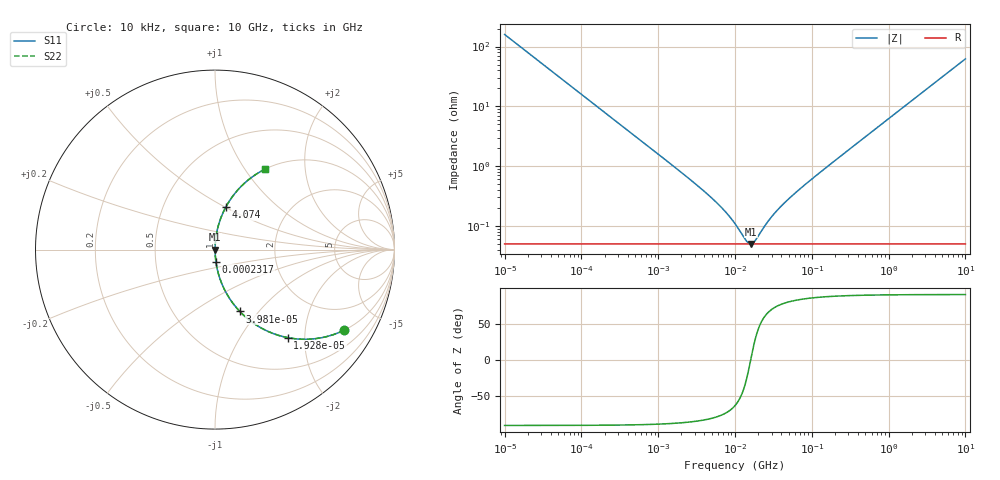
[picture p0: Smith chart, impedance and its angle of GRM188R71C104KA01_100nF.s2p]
! Touchstone 2-port S-parameters  (series-through model)
! Part: GRM188R71C104KA01_100nF
! Generated: 2026-08-04 18:16 UTC  by s2p tool
! Reference impedance: 50.0 Ohm
! ESL estimated from SRF: 0.989 nH (SRF=16.0 MHz) [PHYSICS ESTIMATE]
! ESTIMATED / behavioral model - NOT manufacturer-measured data.
# Hz S RI R 50
! freq  ReS11  ImS11  ReS21  ImS21  ReS12  ImS12  ReS22  ImS22
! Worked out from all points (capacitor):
!   521 points, 10 kHz to 10 GHz, reference 50 ohm
!   read as one part in series: C = 100 nF near 10.72 kHz
!   lowest |Z| = 50.1 mohm at 16.22 MHz (marker M1)
!   series resonance near 16 MHz, so ESL is about 990 pH
!   S11 on the Smith chart (normalised r, x): 10 kHz: 1.00, -3.18; 19.28 kHz: 1.00, -1.65; 39.81 kHz: 1.00, -0.80; 231.7 kHz: 1.00, -0.14; 4.074 GHz: 1.00, +0.51; 10 GHz: 1.00, +1.24
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10000  0.7169 -0.4503  0.2831 0.4503  0.2831 0.4503  0.7169 -0.4503
14125.38  0.5594 -0.4962  0.4406 0.4962  0.4406 0.4962  0.5594 -0.4962
19275.25  0.4054 -0.4907  0.5946 0.4907  0.5946 0.4907  0.4054 -0.4907
28183.83  0.242 -0.4278  0.758 0.4278  0.758 0.4278  0.242 -0.4278
39810.72  0.1381 -0.3444  0.8619 0.3444  0.8619 0.3444  0.1381 -0.3444
101157.9  0.0246 -0.1534  0.9754 0.1534  0.9754 0.1534  0.0246 -0.1534
231739.5  0.00519 -0.0683  0.9948 0.0683  0.9948 0.0683  0.00519 -0.0683
1023293  0.000739 -0.0155  0.9993 0.0155  0.9993 0.0155  0.000739 -0.0155
4365158  0.000511 -0.00337  0.9995 0.00337  0.9995 0.00337  0.000511 -0.00337
7819799  0.000502 -0.00155  0.9995 0.00155  0.9995 0.00155  0.000502 -0.00155
1e7  0.000501 -0.000969  0.9995 0.000969  0.9995 0.000969  0.000501 -0.000969
1.412538e7  0.0005 -0.000248  0.9995 0.000248  0.9995 0.000248  0.0005 -0.000248
1.62181e7  0.0005 2.69e-05  0.9995 -2.69e-05  0.9995 -2.69e-05  0.0005 2.69e-05
1.832076e7  0.0005 0.00027  0.9995 -0.00027  0.9995 -0.00027  0.0005 0.00027
2.818383e7  0.000501 0.00119  0.9995 -0.00119  0.9995 -0.00119  0.000501 0.00119
3.981072e7  0.000504 0.00207  0.9995 -0.00207  0.9995 -0.00207  0.000504 0.00207
1.005633e8  0.000537 0.00609  0.9995 -0.00609  0.9995 -0.00609  0.000537 0.00609
1.023293e9  0.00452 0.0633  0.9955 -0.0633  0.9955 -0.0633  0.00452 0.0633
2.113489e9  0.0174 0.129  0.9826 -0.129  0.9826 -0.129  0.0174 0.129
4.073803e9  0.0607 0.2378  0.9393 -0.2378  0.9393 -0.2378  0.0607 0.2378
6.382635e9  0.1363 0.3425  0.8637 -0.3425  0.8637 -0.3425  0.1363 0.3425
1e10  0.2789 0.4481  0.7211 -0.4481  0.7211 -0.4481  0.2789 0.4481
